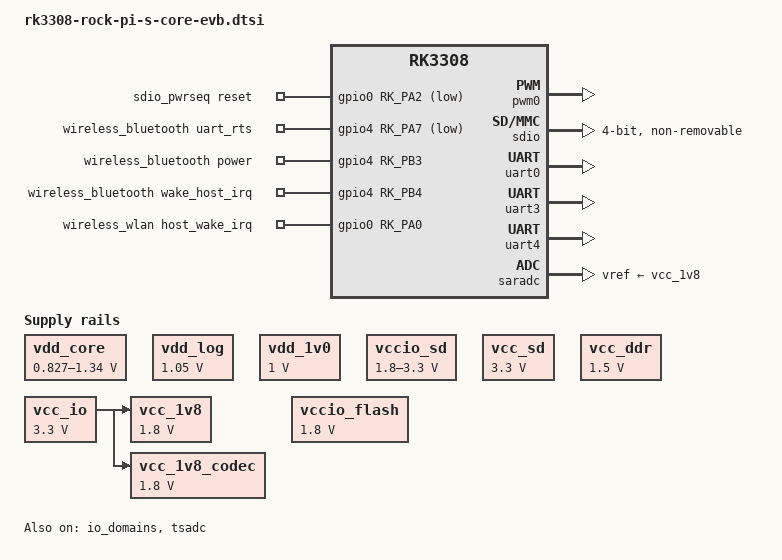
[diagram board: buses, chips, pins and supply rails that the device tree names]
// SPDX-License-Identifier: (GPL-2.0+ OR MIT)
/*
 * Copyright (c) 2018 Fuzhou Rockchip Electronics Co., Ltd
 */

/dts-v1/;

#include <dt-bindings/input/input.h>
#include "rk3308k.dtsi"

/ {
	compatible = "rockchip,rk3308";

	sdio_pwrseq: sdio-pwrseq {
		compatible = "mmc-pwrseq-simple";
		pinctrl-names = "default";
		pinctrl-0 = <&wifi_enable_h>;

		/*
		 * On the module itself this is one of these (depending
		 * on the actual card populated):
		 * - SDIO_RESET_L_WL_REG_ON
		 * - PDN (power down when low)
		 */
		reset-gpios = <&gpio0 RK_PA2 GPIO_ACTIVE_LOW>;
	};

	vdd_core: vdd-core {
		compatible = "pwm-regulator";
		pwms = <&pwm0 0 5000 1>;
		regulator-name = "vdd_core";
		regulator-min-microvolt = <827000>;
		regulator-max-microvolt = <1340000>;
		regulator-init-microvolt = <1015000>;
		regulator-always-on;
		regulator-boot-on;
		regulator-settling-time-up-us = <250>;
		status = "okay";
	};

	vdd_log: vdd-log {
		compatible = "regulator-fixed";
		regulator-name = "vdd_log";
		regulator-always-on;
		regulator-boot-on;
		regulator-min-microvolt = <1050000>;
		regulator-max-microvolt = <1050000>;
	};

	vdd_1v0: vdd-1v0 {
		compatible = "regulator-fixed";
		regulator-name = "vdd_1v0";
		regulator-always-on;
		regulator-boot-on;
		regulator-min-microvolt = <1000000>;
		regulator-max-microvolt = <1000000>;
	};

	vcc_1v8: vcc-1v8 {
		compatible = "regulator-fixed";
		regulator-name = "vcc_1v8";
		regulator-always-on;
		regulator-boot-on;
		regulator-min-microvolt = <1800000>;
		regulator-max-microvolt = <1800000>;
		vin-supply = <&vcc_io>;
	};

	vccio_sd: vccio-sd {
		compatible = "regulator-gpio";
		regulator-name = "vccio_sd";
		regulator-min-microvolt = <1800000>;
		regulator-max-microvolt = <3300000>;
		states = <1800000 0x0
			  3300000 0x1>;
	};

	vcc_sd: vcc-sd {
		compatible = "regulator-fixed";
		regulator-name = "vcc_sd";
		regulator-min-microvolt = <3300000>;
		regulator-max-microvolt = <3300000>;
	};

	vcc_1v8_codec: vcc-1v8-codec {
		compatible = "regulator-fixed";
		regulator-name = "vcc_1v8_codec";
		regulator-always-on;
		regulator-boot-on;
		regulator-min-microvolt = <1800000>;
		regulator-max-microvolt = <1800000>;
		vin-supply = <&vcc_io>;
	};

	vcc_ddr: vcc-ddr {
		compatible = "regulator-fixed";
		regulator-name = "vcc_ddr";
		regulator-always-on;
		regulator-boot-on;
		regulator-min-microvolt = <1500000>;
		regulator-max-microvolt = <1500000>;
	};

	vcc_io: vcc-io {
		compatible = "regulator-fixed";
		regulator-name = "vcc_io";
		regulator-always-on;
		regulator-boot-on;
		regulator-min-microvolt = <3300000>;
		regulator-max-microvolt = <3300000>;
	};

	vccio_flash: vccio-flash {
		compatible = "regulator-fixed";
		regulator-name = "vccio_flash";
		regulator-always-on;
		regulator-boot-on;
		regulator-min-microvolt = <1800000>;
		regulator-max-microvolt = <1800000>;
	};

	wireless_bluetooth: wireless-bluetooth {
		compatible = "bluetooth-platdata";
		uart_rts_gpios = <&gpio4 RK_PA7 GPIO_ACTIVE_LOW>;
		pinctrl-names = "default", "rts_gpio";
		pinctrl-0 = <&uart4_rts>;
		pinctrl-1 = <&uart4_rts_gpio>;
		BT,power_gpio    = <&gpio4 RK_PB3 GPIO_ACTIVE_HIGH>;
		BT,wake_host_irq = <&gpio4 RK_PB4 GPIO_ACTIVE_HIGH>;
		status = "okay";
	};

	wireless_wlan: wireless-wlan {
		compatible = "wlan-platdata";
		rockchip,grf = <&grf>;
		clocks = <&cru SCLK_WIFI>;
		clock-names = "clk_wifi";
		ref-clock-frequency = <24000000>;
		pinctrl-names = "default";
		pinctrl-0 = <&wifi_wake_host>;
		wifi_chip_type = "rtl8723ds";
		WIFI,host_wake_irq = <&gpio0 RK_PA0 GPIO_ACTIVE_HIGH>;
		status = "okay";
	};
};

&cpu0 {
	cpu-supply = <&vdd_core>;
};

&emmc {
	bus-width = <8>;
	cap-mmc-highspeed;
	mmc-hs200-1_8v;
	supports-emmc;
	disable-wp;
	non-removable;
	num-slots = <1>;
	pinctrl-names = "default";
	pinctrl-0 = <&emmc_clk &emmc_cmd &emmc_bus8>;
	status = "disabled";
};

&sdmmc {
	max-frequeency = <150000000>;
	supports-sd;
	bus-width = <4>;
	cap-mmc-highspeed;
	cap-sd-highspeed;
	disable-wp;
	num-slots = <1>;
	vmmc-supply = <&vcc_sd>;
	vqmmc-supply = <&vccio_sd>;
	pinctrl-names = "default";
	pinctrl-0 = <&sdmmc_clk &sdmmc_cmd &sdmmc_det &sdmmc_bus4>;
	ard-detect-delay = <800>;
	status = "disabled";
};

&io_domains {
	status = "okay";

	vccio0-supply = <&vcc_io>;
	vccio1-supply = <&vcc_io>;
	vccio2-supply = <&vcc_io>;
	vccio3-supply = <&vcc_io>;
	vccio4-supply = <&vcc_1v8>;
	vccio5-supply = <&vcc_io>;
};

&pwm0 {
	status = "okay";
	pinctrl-names = "active";
	pinctrl-0 = <&pwm0_pin_pull_down>;
};

&rockchip_suspend {
	rockchip,pwm-regulator-config = <
		(0
		| RKPM_PWM_REGULATOR
		)
	>;
	status = "okay";
};

&sdio {
	max-frequency = <110000000>;
	bus-width = <4>;
	cap-sd-highspeed;
	supports-sdio;
	ignore-pm-notify;
	keep-power-in-suspend;
	non-removable;
	mmc-pwrseq = <&sdio_pwrseq>;
	sd-uhs-sdr104;
	status = "okay";
};

&tsadc {
	rockchip,hw-tshut-mode = <0>;		/* 0:CRU */
	rockchip,hw-tshut-polarity = <1>;	/* 1:HIGH */
	status = "okay";
};

&uart0 {
	pinctrl-names = "default";
	pinctrl-0 = <&uart0_xfer>;
	status = "okay";
};

&uart3 {
	status = "okay";
};

&uart4 {
	pinctrl-names = "default";
	pinctrl-0 = <&uart4_xfer &uart4_cts>;
	status = "okay";
};

&thermal_zones {
	soc_thermal {
		thermal-sensors = <&tsadc 0>;
	};
};

&saradc {
	status = "okay";
	vref-supply = <&vcc_1v8>;
};

&pinctrl {
	pinctrl-names = "default";
	pinctrl-0 = <&rtc_32k>;

	sdio-pwrseq {
		wifi_enable_h: wifi-enable-h {
			rockchip,pins = <0 RK_PA2 RK_FUNC_GPIO &pcfg_pull_none>;
		};
	};

	wireless-wlan {
		wifi_wake_host: wifi-wake-host {
			rockchip,pins = <0 RK_PA0 RK_FUNC_GPIO &pcfg_pull_down>;
		};
	};
};

/* DON'T PUT ANYTHING BELOW HERE.  PUT IT ABOVE PINCTRL */
/* DON'T PUT ANYTHING BELOW HERE.  PUT IT ABOVE PINCTRL */
/* DON'T PUT ANYTHING BELOW HERE.  PUT IT ABOVE PINCTRL */
